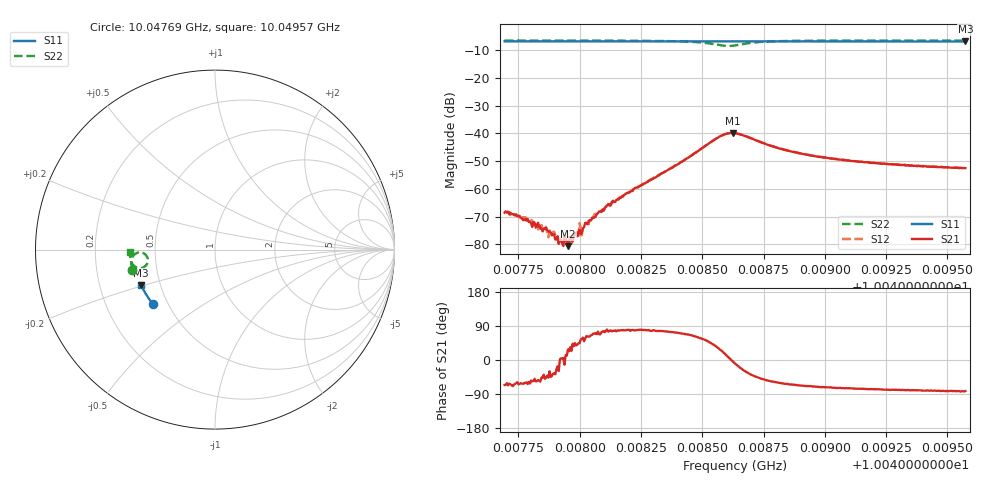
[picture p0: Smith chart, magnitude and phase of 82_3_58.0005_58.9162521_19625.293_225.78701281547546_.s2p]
#  HZ  S  RI  R  50.00
! Rohde & Schwarz Vector Network Analyzer
! Rohde-Schwarz,ZNB20-2Port,1311601062101988,3.16
! Created: UTC 3/21/2024, 12:53:57 AM
! freq[Hz]  re:S11  im:S11  re:S21  im:S21  re:S12  im:S12  re:S22  im:S22
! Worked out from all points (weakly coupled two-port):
!   401 points, 10.04769 GHz to 10.04957 GHz, reference 50 ohm
!   highest |S21| = -39.87 dB at 10.04862 GHz (marker M1); lowest = -80.7 dB at 10.04795 GHz (marker M2)
!   lowest |S11| = -6.8 dB at 10.04957 GHz (marker M3), VSWR 2.68, Z = 19.5 - j9.66 ohm
!   |S11| at or under -10 dB: nowhere
!   |S22| runs from -8.5 to -6.4 dB; largest |S21 - S12| = 0.00072
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1.0047694e10  -0.347 -0.3018  0.000151 -0.00034  0.000187 -0.000332  -0.4625 -0.1133
1.0047746e10  -0.3492 -0.2992  0.000167 -0.000274  0.000148 -0.000282  -0.4632 -0.1091
1.0047797e10  -0.3512 -0.2965  0.000118 -0.000224  0.000139 -0.000238  -0.4639 -0.1052
1.0047868e10  -0.3543 -0.2927  0.000134 -0.000118  0.000115 -0.00011  -0.4647 -0.0996
1.0047877e10  -0.3545 -0.2922  0.000147 -8.39e-05  0.000118 -0.000131  -0.4649 -0.0989
1.0047887e10  -0.355 -0.2917  0.000107 -9.82e-05  0.000127 -6.92e-05  -0.4648 -0.0981
1.0047919e10  -0.3563 -0.2899  0.000126 4.37e-06  0.000112 -2.98e-05  -0.4653 -0.0955
1.0047924e10  -0.3564 -0.2897  0.00012 9.1e-06  0.000115 -2.92e-05  -0.4653 -0.095
1.0047952e10  -0.3576 -0.2882  8.14e-05 4.33e-05  0.000127 5.25e-05  -0.4657 -0.0926
1.0047971e10  -0.3584 -0.2873  8.19e-05 7.73e-05  9.08e-05 8.03e-05  -0.4657 -0.0911
1.0048009e10  -0.36 -0.2851  9.05e-05 0.000133  7.34e-05 0.000125  -0.4661 -0.0878
1.0048032e10  -0.3608 -0.2839  0.000108 0.000203  9.16e-05 0.000219  -0.4663 -0.0857
1.0048065e10  -0.3622 -0.2823  0.000103 0.000298  9.78e-05 0.00034  -0.4665 -0.0827
1.0048112e10  -0.3639 -0.2797  8.16e-05 0.000495  6.32e-05 0.000452  -0.4667 -0.0784
1.0048323e10  -0.3719 -0.2681  0.00041 0.00168  0.00032 0.00176  -0.4638 -0.0528
1.0048563e10  -0.3802 -0.2544  0.00704 0.00448  0.00678 0.00494  -0.397 -0.0206
1.0048624e10  -0.3817 -0.2514  0.0101 -0.000614  0.0102 4.9e-05  -0.3751 -0.0704
1.0048634e10  -0.3821 -0.251  0.00992 -0.00161  0.0101 -0.000911  -0.3785 -0.079
1.0048798e10  -0.3884 -0.2422  0.00295 -0.00478  0.00329 -0.00464  -0.452 -0.0896
1.0048948e10  -0.3935 -0.2334  0.00136 -0.00372  0.00159 -0.00364  -0.4664 -0.0669
1.0049263e10  -0.4033 -0.215  0.000546 -0.00273  0.00072 -0.00273  -0.4735 -0.0353
1.0049573e10  -0.4121 -0.1964  0.000328 -0.00234  0.000427 -0.00233  -0.4749 -0.011
